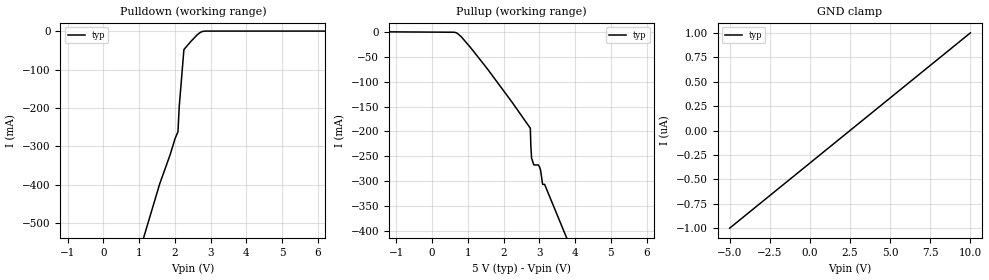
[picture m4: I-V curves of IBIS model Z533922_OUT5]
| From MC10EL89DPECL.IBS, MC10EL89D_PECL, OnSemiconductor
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| (C) COPYRIGHT 1993-2000
| MENTOR GRAPHICS CORPORATION
| ICX STANDARD LIBRARY, ICX PROJECT MODELING,
| ICX CUSTOM MODELING, ICX VENDOR MODEL
| ALL RIGHTS RESERVED.
| THE FOLLOWING ARE TRADEMARKS OR SERVICE MARKS OF
| MENTOR GRAPHICS CORPORATION:ICX (R), ICX STANDARD
| LIBRARY(R), ICX PROJECT MODELING(R), ICX CUSTOM
| MODELING(R), qualityIBIS(TM), MODELVIEWER(TM),
| AND MODELEDITOR(TM)
| ALL COPIES OF SOFTWARE, INCLUDING BUT NOT LIMITED TO
| ANY MODIFICATIONS, ENHANCEMENTS OR DERIVATIVE WORKS,
| MUST CONTAIN ALL MENTOR GRAPHICS CORPORATION'S
| NOTICES AND LEGENDS, INCLUDING THOSE EMBEDDED IN
| SOFTWARE AND THOSE AFFIXED TO SOFTWARE MEDIUM
| AND CONTAINER, AS RECEIVED FROM MENTOR GRAPHICS
| CORPORATION.
| Model Application Version 1.89 2/18/99.
[Model] Z533922_OUT5
Model_type Output
Vref=2.700V
Rref=300.0ohms
Cref=0.000F
Vmeas=3.200V
C_comp 8.000pF NA NA
| variable typ   min   max
[Voltage Range] 5.000V NA NA
[POWER Clamp Reference] 5.000V NA NA
[Pullup Reference] 5.000V NA NA
[Pulldown Reference] 0.000V NA NA
[GND Clamp Reference] 0.000V NA NA
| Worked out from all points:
|   slope of the pulldown table from 0 to 0.75 V, typ, clamps not added: 3.2 ohm
|   slope of the pullup table from 0 to 0.75 V, typ, clamps not added: 147 ohm
[GND Clamp]
-5V       -1uA       NA         NA
10V       1uA        NA         NA
[Pulldown]
-5V       -2.454A    NA         NA
1.572V    -398.6mA   NA         NA
1.869V    -321.1mA   NA         NA
2.002V    -280.4mA   NA         NA
2.085V    -261.7mA   NA         NA
2.119V    -197.2mA   NA         NA
2.251V    -47.86mA   NA         NA
2.627V    -9.014mA   NA         NA
2.761V    -963.5uA   NA         NA
10V       267.5uA    NA         NA
[Pullup]
-5V       2.339mA    NA         NA
661mV     -682.1uA   NA         NA
814mV     -8.758mA   NA         NA
1.562V    -75.17mA   NA         NA
2.749V    -193.5mA   NA         NA
2.763V    -228.6mA   NA         NA
2.785V    -254mA     NA         NA
2.847V    -267.5mA   NA         NA
3.007V    -271.5mA   NA         NA
3.037V    -278.4mA   NA         NA
3.092V    -306.6mA   NA         NA
10V       -1.506A    NA         NA
[POWER Clamp]
-5V       0A         NA         NA
10V       0A         NA         NA
[Ramp]
| variable typ min max
dV/dt_r 908.4m/2.100n NA NA
dV/dt_f 908.4m/1.074n NA NA
R_load = 500.0Ohms
